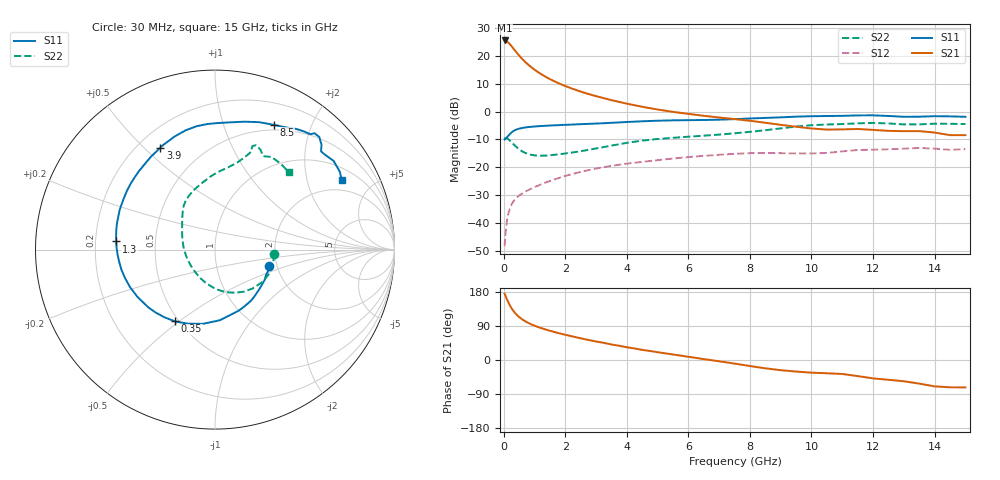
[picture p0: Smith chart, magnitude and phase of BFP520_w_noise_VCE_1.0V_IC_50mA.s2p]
! Infineon Technologies  Discrete & RF Semiconductors
! BFP520
! VCE =  1.0 V,  IC =  50 mA
! Common Emitter S-Parameters:  Oct 2015
# GHz  S  MA  R  50
!  f  S11  S21  S12  S22
! GHz  MAG  ANG  MAG  ANG  MAG  ANG  MAG  ANG
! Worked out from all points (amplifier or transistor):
!   109 points, 30 MHz to 15 GHz, reference 50 ohm
!   highest |S21| = 25.6 dB at 30 MHz (marker M1)
!   |S21| within 3 dB of that: start of sweep to 322.3 MHz
!   unconditionally stable (mu >= 1): start of sweep to end of sweep
!   at 450 MHz: K = 1.20, MAG = 23.0 dB, |S12| = -30.7 dB
!   at 4 GHz: K = 1.93, MAG = 5.3 dB, |S12| = -18.7 dB
!   at 15 GHz: K = 1.89, MAG = -2.9 dB, |S12| = -13.5 dB
!   lowest NFmin = 3.26 dB at 450 MHz
!   S11 on the Smith chart (normalised r, x): 30 MHz: 1.82, -0.37; 350 MHz: 0.48, -0.48; 1.3 GHz: 0.29, +0.04; 3.9 GHz: 0.29, +0.56; 8.5 GHz: 0.44, +1.49; 15 GHz: 1.49, +3.28
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0.03  0.3165 -16.9  18.98 175.0  0.0038 95.1  0.3293 -4.3
0.07  0.3262 -36.5  18.72 167.0  0.0074 83.8  0.3326 -15.5
0.12  0.3516 -58.4  17.96 157.6  0.0119 75.6  0.3257 -28.0
0.15  0.3661 -70.1  17.36 152.3  0.0144 72.0  0.3177 -35.2
0.2  0.3946 -86.1  16.27 144.4  0.018 67.0  0.3011 -46.1
0.25  0.4194 -99.4  15.09 137.3  0.021 62.8  0.2833 -56.0
0.35  0.4579 -119.2  12.85 125.9  0.0257 57.1  0.2487 -73.2
0.4  0.4709 -126.8  11.87 121.2  0.0276 55.2  0.2345 -80.4
0.5  0.4917 -139.3  10.19 113.5  0.0308 52.5  0.2102 -93.6
0.6  0.5062 -148.7  8.86 107.3  0.0336 51.1  0.1928 -105.2
0.7  0.5177 -156.3  7.791 102.2  0.0362 50.1  0.1804 -115.4
1  0.5386 -173.0  5.669 90.6  0.0437 49.3  0.1631 -139.5
1.3  0.5526 175.3  4.42 82.1  0.0513 48.7  0.1613 -157.2
1.8  0.5704 160.4  3.198 70.7  0.0642 47.0  0.171 -178.7
2.6  0.5968 141.8  2.197 55.5  0.0846 41.7  0.1981 157.2
3.9  0.6445 118.2  1.427 35.3  0.1136 30.2  0.2676 132.6
5.1  0.6863 102.6  1.067 19.4  0.1355 20.2  0.3242 118.8
7.6  0.7346 75.8  0.722 -10.7  0.1747 -3.2  0.4116 92.6
8.5  0.7685 64.8  0.629 -21.9  0.1801 -12.7  0.4619 81.3
10.5  0.8315 50.9  0.474 -35.0  0.1805 -23.4  0.5846 69.6
13  0.8053 42.8  0.444 -56.1  0.2153 -43.9  0.5873 63.1
15  0.8048 28.7  0.377 -72.3  0.2112 -59.8  0.5957 46.5
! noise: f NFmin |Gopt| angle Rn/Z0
0.45  3.26  0.19  -159  0.29
0.9  3.26  0.21  -151  0.32
1.9  3.39  0.27  -127  0.39
2.4  3.38  0.28  -123  0.37
3.5  3.38  0.27  -109  0.45
